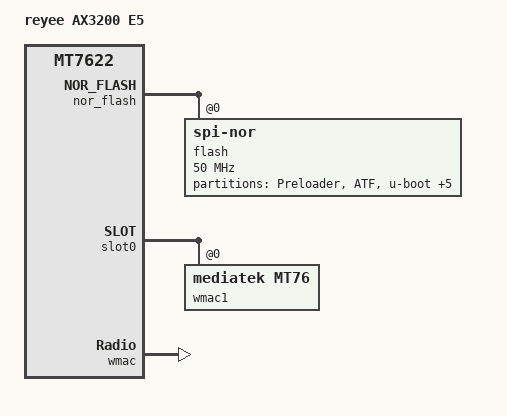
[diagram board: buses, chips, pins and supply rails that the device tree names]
// SPDX-License-Identifier: GPL-2.0-or-later OR MIT

/dts-v1/;
#include <dt-bindings/input/input.h>
#include <dt-bindings/gpio/gpio.h>

#include "mt7622-ruijie-rg-ew3200.dtsi"

/ {
	model = "reyee AX3200 E5";
	compatible = "reyee,ax3200-e5", "mediatek,mt7622";
};

&nor_flash {
	status = "okay";

	pinctrl-names = "default";
	pinctrl-0 = <&spi_nor_pins>;

	flash@0 {
		compatible = "jedec,spi-nor";
		reg = <0>;
		spi-max-frequency = <50000000>;

		partitions {
			compatible = "fixed-partitions";
			#address-cells = <1>;
			#size-cells = <1>;

			partition@0 {
				label = "Preloader";
				reg = <0x0 0x20000>;
				read-only;
			};

			partition@20000 {
				label = "ATF";
				reg = <0x20000 0x10000>;
				read-only;
			};

			partition@30000 {
				label = "u-boot";
				reg = <0x30000 0x50000>;
				read-only;
			};

			partition@80000 {
				label = "u-boot-env";
				reg = <0x80000 0x10000>;
			};

			partition@90000 {
				label = "Factory";
				reg = <0x90000 0x40000>;
				read-only;

				nvmem-layout {
					compatible = "fixed-layout";
					#address-cells = <1>;
					#size-cells = <1>;

					eeprom_factory_0: eeprom@0 {
						reg = <0x0 0x4da8>; /* actual length 0x400 */
					};

					eeprom_factory_5000: eeprom@5000 {
						reg = <0x5000 0xe00>;
					};
				};
			};

			partition@d0000 {
				label = "product_info";
				reg = <0xd0000 0x10000>;
				read-only;
			};

			partition@e0000 {
				label = "kdump";
				reg = <0xe0000 0x10000>;
				read-only;
			};

			partition@f0000 {
				compatible = "denx,fit";
				label = "firmware";
				reg = <0xf0000 0xf10000>;
			};
		};
	};
};

&slot0 {
	wmac1: wifi@0,0 {
		compatible = "mediatek,mt76";
		reg = <0x0000 0 0 0 0>;
	};
};

&wmac {
	status = "okay";

	pinctrl-names = "default";
	pinctrl-0 = <&epa_elna_pins>;

	nvmem-cells = <&eeprom_factory_0>;
	nvmem-cell-names = "eeprom";
};

&wmac1 {
	nvmem-cells = <&eeprom_factory_5000>;
	nvmem-cell-names = "eeprom";
	ieee80211-freq-limit = <5000000 6000000>;
	mediatek,disable-radar-background;
};
